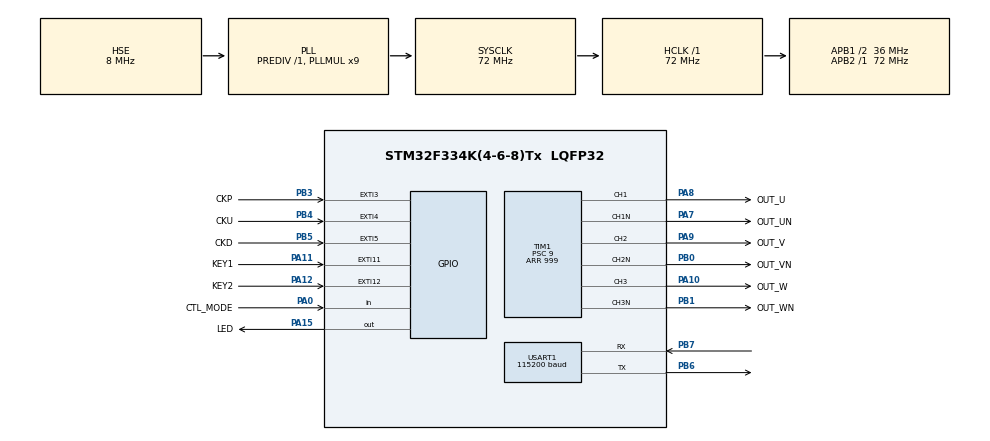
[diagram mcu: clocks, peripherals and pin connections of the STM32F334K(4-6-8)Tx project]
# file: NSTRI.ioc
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Dma.Request0=USART1_RX
Dma.Request1=USART1_TX
Dma.USART1_RX.0.Direction=DMA_PERIPH_TO_MEMORY
Dma.USART1_RX.0.Instance=DMA1_Channel5
Dma.USART1_RX.0.MemDataAlignment=DMA_MDATAALIGN_BYTE
Dma.USART1_RX.0.MemInc=DMA_MINC_ENABLE
Dma.USART1_RX.0.Mode=DMA_NORMAL
Dma.USART1_RX.0.PeriphDataAlignment=DMA_PDATAALIGN_BYTE
Dma.USART1_RX.0.PeriphInc=DMA_PINC_DISABLE
Dma.USART1_RX.0.Priority=DMA_PRIORITY_MEDIUM
Dma.USART1_TX.1.Direction=DMA_MEMORY_TO_PERIPH
Dma.USART1_TX.1.Instance=DMA1_Channel4
Dma.USART1_TX.1.MemDataAlignment=DMA_MDATAALIGN_BYTE
Dma.USART1_TX.1.MemInc=DMA_MINC_ENABLE
Dma.USART1_TX.1.Mode=DMA_NORMAL
Dma.USART1_TX.1.PeriphDataAlignment=DMA_PDATAALIGN_BYTE
Dma.USART1_TX.1.PeriphInc=DMA_PINC_DISABLE
Dma.USART1_TX.1.Priority=DMA_PRIORITY_MEDIUM
IWDG.Prescaler=IWDG_PRESCALER_8
IWDG.Window=4095
Mcu.Family=STM32F3
Mcu.Name=STM32F334K(4-6-8)Tx
Mcu.Package=LQFP32
NVIC.DMA1_Channel4_IRQn=true\:2\:0\:true\:false\:true\:false\:true
NVIC.DMA1_Channel5_IRQn=true\:2\:0\:true\:false\:true\:false\:true
NVIC.EXTI15_10_IRQn=true\:3\:0\:true\:false\:true\:true\:true
NVIC.EXTI3_IRQn=true\:3\:0\:true\:false\:true\:true\:true
NVIC.EXTI4_IRQn=true\:3\:0\:true\:false\:true\:true\:true
NVIC.EXTI9_5_IRQn=true\:3\:0\:true\:false\:true\:true\:true
NVIC.PriorityGroup=NVIC_PRIORITYGROUP_4
NVIC.TIM1_UP_TIM16_IRQn=true\:1\:0\:true\:false\:true\:true\:true
NVIC.TIM2_IRQn=true\:2\:0\:true\:false\:true\:true\:true
NVIC.USART1_IRQn=true\:2\:0\:true\:false\:true\:true\:true
PA0.GPIO_Label=CTL_MODE
PA0.GPIO_PuPd=GPIO_PULLUP
PA0.Signal=GPIO_Input
PA1.GPIO_Label=ADC_V
PA1.Signal=ADC1_IN2
PA10.GPIO_Label=OUT_W
PA10.Signal=S_TIM1_CH3
PA11.GPIO_Label=KEY1
PA11.GPIO_ModeDefaultEXTI=GPIO_MODE_IT_FALLING
PA11.GPIO_PuPd=GPIO_PULLUP
PA11.Signal=GPXTI11
PA12.GPIO_Label=KEY2
PA12.GPIO_ModeDefaultEXTI=GPIO_MODE_IT_FALLING
PA12.GPIO_PuPd=GPIO_PULLUP
PA12.Signal=GPXTI12
PA13.Mode=Serial_Wire
PA13.Signal=SYS_JTMS-SWDIO
PA14.Mode=Serial_Wire
PA14.Signal=SYS_JTCK-SWCLK
PA15.GPIO_Label=LED
PA15.GPIO_Speed=GPIO_SPEED_FREQ_HIGH
PA15.Signal=GPIO_Output
PA2.GPIO_Label=ADC_W
PA2.Signal=ADC1_IN3
PA3.GPIO_Label=ADC_PWR
PA3.Signal=ADC1_IN4
PA7.GPIO_Label=OUT_UN
PA7.Mode=PWM Generation1 CH1 CH1N
PA7.Signal=TIM1_CH1N
PA8.GPIO_Label=OUT_U
PA8.Signal=S_TIM1_CH1
PA9.GPIO_Label=OUT_V
PA9.Signal=S_TIM1_CH2
PB0.GPIO_Label=OUT_VN
PB0.Mode=PWM Generation2 CH2 CH2N
PB0.Signal=TIM1_CH2N
PB1.GPIO_Label=OUT_WN
PB1.Mode=PWM Generation3 CH3 CH3N
PB1.Signal=TIM1_CH3N
PB3.GPIO_Label=CKP
PB3.GPIO_ModeDefaultEXTI=GPIO_MODE_IT_FALLING
PB3.GPIO_PuPd=GPIO_PULLUP
PB3.Signal=GPXTI3
PB4.GPIO_Label=CKU
PB4.GPIO_ModeDefaultEXTI=GPIO_MODE_IT_FALLING
PB4.GPIO_PuPd=GPIO_PULLUP
PB4.Signal=GPXTI4
PB5.GPIO_Label=CKD
PB5.GPIO_ModeDefaultEXTI=GPIO_MODE_IT_FALLING
PB5.GPIO_PuPd=GPIO_PULLUP
PB5.Signal=GPXTI5
PB6.Mode=Asynchronous
PB6.Signal=USART1_TX
PB7.Mode=Asynchronous
PB7.Signal=USART1_RX
PF0\ /\ OSC_IN.Mode=HSE-External-Oscillator
PF0\ /\ OSC_IN.Signal=RCC_OSC_IN
PF1\ /\ OSC_OUT.Mode=HSE-External-Oscillator
PF1\ /\ OSC_OUT.Signal=RCC_OSC_OUT
ProjectManager.HeapSize=0x200
ProjectManager.StackSize=0x400
ProjectManager.TargetToolchain=STM32CubeIDE
RCC.AHBFreq_Value=72000000
RCC.APB1CLKDivider=RCC_HCLK_DIV2
RCC.APB1Freq_Value=36000000
RCC.APB1TimFreq_Value=72000000
RCC.APB2Freq_Value=72000000
RCC.APB2TimFreq_Value=72000000
RCC.CortexFreq_Value=72000000
RCC.EnbaleCSS=true
RCC.HCLKFreq_Value=72000000
RCC.HRTIMSelection=RCC_HRTIM1CLK_PLLCLK
RCC.HSE_VALUE=8000000
RCC.HSI_VALUE=8000000
RCC.PLLMUL=RCC_PLL_MUL9
RCC.PLLSourceVirtual=RCC_PLLSOURCE_HSE
RCC.SYSCLKFreq_VALUE=72000000
RCC.SYSCLKSourceVirtual=RCC_SYSCLKSOURCE_PLLCLK
RCC.TIM1Selection=RCC_TIM1CLK_PLLCLK
SH.S_TIM1_CH1.0=TIM1_CH1,PWM Generation1 CH1 CH1N
SH.S_TIM1_CH2.0=TIM1_CH2,PWM Generation2 CH2 CH2N
SH.S_TIM1_CH3.0=TIM1_CH3,PWM Generation3 CH3 CH3N
TIM1.AutoReloadPreload=TIM_AUTORELOAD_PRELOAD_ENABLE
TIM1.Channel-PWM\ Generation1\ CH1\ CH1N=TIM_CHANNEL_1
TIM1.Channel-PWM\ Generation2\ CH2\ CH2N=TIM_CHANNEL_2
TIM1.Channel-PWM\ Generation3\ CH3\ CH3N=TIM_CHANNEL_3
TIM1.OCFastMode_PWM-PWM\ Generation1\ CH1\ CH1N=TIM_OCFAST_ENABLE
TIM1.OCFastMode_PWM-PWM\ Generation2\ CH2\ CH2N=TIM_OCFAST_ENABLE
TIM1.OCFastMode_PWM-PWM\ Generation3\ CH3\ CH3N=TIM_OCFAST_ENABLE
TIM1.OCNPolarity_1=TIM_OCNPOLARITY_HIGH
TIM1.OCNPolarity_2=TIM_OCNPOLARITY_HIGH
TIM1.OCNPolarity_3=TIM_OCNPOLARITY_HIGH
TIM1.Period=999
TIM1.Prescaler=9
TIM1.Pulse-PWM\ Generation1\ CH1\ CH1N=499
TIM1.Pulse-PWM\ Generation2\ CH2\ CH2N=499
TIM1.Pulse-PWM\ Generation3\ CH3\ CH3N=499
TIM2.AutoReloadPreload=TIM_AUTORELOAD_PRELOAD_ENABLE
TIM2.Period=999
TIM2.Prescaler=71
USART1.BaudRate=115200
USART1.VirtualMode-Asynchronous=VM_ASYNC
VP_IWDG_VS_IWDG.Mode=IWDG_Activate
VP_TIM1_VS_ClockSourceINT.Mode=Internal
VP_TIM2_VS_ClockSourceINT.Mode=Internal
board=custom

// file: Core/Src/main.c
/* USER CODE BEGIN Header */
/**
  ******************************************************************************
  * @file           : main.c
  * @brief          : Main program body
  ******************************************************************************
  * @attention
  *
  * <h2><center>&copy; Copyright (c) 2020 STMicroelectronics.
  * All rights reserved.</center></h2>
  *
  * This software component is licensed by ST under BSD 3-Clause license,
  * the "License"; You may not use this file except in compliance with the
  * License. You may obtain a copy of the License at:
  *                        opensource.org/licenses/BSD-3-Clause
  *
  ******************************************************************************
  */
/* USER CODE END Header */
#include "main.h"

/* USER CODE BEGIN Includes */
#include <stdio.h>
#include <string.h>
/* USER CODE END Includes */

/* USER CODE BEGIN PD */
#define MIN_VEL 2
/* USER CODE END PD */

/* USER CODE BEGIN PM */
#define SET_FREQ(freq) (TIM1->ARR = (int) (100000.0F / (freq)) - 1)
/* USER CODE END PM */

IWDG_HandleTypeDef hiwdg;

TIM_HandleTypeDef htim1;
TIM_HandleTypeDef htim2;

UART_HandleTypeDef huart1;
DMA_HandleTypeDef hdma_usart1_rx;
DMA_HandleTypeDef hdma_usart1_tx;

void SystemClock_Config(void);
static void MX_GPIO_Init(void);
static void MX_DMA_Init(void);
static void MX_USART1_UART_Init(void);
static void MX_TIM1_Init(void);
static void MX_TIM2_Init(void);
static void MX_IWDG_Init(void);

/* USER CODE BEGIN 0 */
int __io_putchar(int ch) {
	while (HAL_UART_Transmit_DMA(&huart1, (uint8_t *) &ch, 1) != HAL_OK)
		HAL_IWDG_Refresh(&hiwdg);
	return ch;
}

#define VAL_LEN 144  // PSC = 9
static uint8_t VALS[] = {
	// n = 15
	0,1,0,1,1,1,0,1,1,1,1,0,1,1,1,1,1,0,1,1,1,1,1,1,0,1,1,1,1,1,1,0,1,1,1,1,
	1,1,1,0,1,1,1,1,1,1,0,1,1,1,1,1,1,0,1,1,1,1,1,0,1,1,1,1,0,1,1,1,0,1,0,0,
	0,0,0,0,0,0,0,0,0,0,0,0,0,0,0,0,0,0,0,0,0,0,0,0,0,0,0,0,0,0,0,0,0,0,0,0,
	0,0,0,0,0,0,0,0,0,0,0,0,0,0,0,0,0,0,0,0,0,0,0,0,0,0,0,0,0,0,0,0,0,0,0,0,

	// n = 12
	0,1,1,1,0,1,1,1,1,1,0,1,1,1,1,1,1,0,1,1,1,1,1,1,1,1,0,1,1,1,1,1,1,1,1,0,
	1,1,1,1,1,1,1,1,0,1,1,1,1,1,1,1,1,0,1,1,1,1,1,1,0,1,1,1,1,1,0,1,1,1,0,0,
	0,0,0,0,0,0,0,0,0,0,0,0,0,0,0,0,0,0,0,0,0,0,0,0,0,0,0,0,0,0,0,0,0,0,0,0,
	0,0,0,0,0,0,0,0,0,0,0,0,0,0,0,0,0,0,0,0,0,0,0,0,0,0,0,0,0,0,0,0,0,0,0,0,

	// n = 9
	1,0,1,1,1,1,1,0,1,1,1,1,1,1,1,1,1,0,1,1,1,1,1,1,1,1,1,1,1,0,1,1,1,1,1,1,
	1,1,1,1,1,1,0,1,1,1,1,1,1,1,1,1,1,1,0,1,1,1,1,1,1,1,1,1,0,1,1,1,1,1,0,1,
	0,0,0,0,0,0,0,0,0,0,0,0,0,0,0,0,0,0,0,0,0,0,0,0,0,0,0,0,0,0,0,0,0,0,0,0,
	0,0,0,0,0,0,0,0,0,0,0,0,0,0,0,0,0,0,0,0,0,0,0,0,0,0,0,0,0,0,0,0,0,0,0,0,

	// n = 6
	1,1,1,1,0,1,1,1,1,1,1,1,1,1,1,1,1,0,1,1,1,1,1,1,1,1,1,1,1,1,1,1,1,1,1,0,
	1,1,1,1,1,1,1,1,1,1,1,1,1,1,1,1,1,0,1,1,1,1,1,1,1,1,1,1,1,1,0,1,1,1,1,0,
	0,0,0,0,0,0,0,0,0,0,0,0,0,0,0,0,0,0,0,0,0,0,0,0,0,0,0,0,0,0,0,0,0,0,0,0,
	0,0,0,0,0,0,0,0,0,0,0,0,0,0,0,0,0,0,0,0,0,0,0,0,0,0,0,0,0,0,0,0,0,0,0,0,

	// n = 3
	1,1,1,1,1,1,1,1,1,1,1,1,1,1,1,1,1,0,1,1,1,1,1,1,1,1,1,1,1,1,1,1,1,1,1,1,
	1,1,1,1,1,1,1,1,1,1,1,1,1,1,1,1,1,0,1,1,1,1,1,1,1,1,1,1,1,1,1,1,1,1,1,0,
	0,0,0,0,0,0,0,0,0,0,0,0,0,0,0,0,0,0,0,0,0,0,0,0,0,0,0,0,0,0,0,0,0,0,0,0,
	0,0,0,0,0,0,0,0,0,0,0,0,0,0,0,0,0,0,0,0,0,0,0,0,0,0,0,0,0,0,0,0,0,0,0,0,
};
uint8_t STEP1 = 0, STEP2 = VAL_LEN / 3, STEP3 = VAL_LEN / 3 * 2;
uint16_t offset = 0;
float DUTY = 0;
uint8_t dir = 1;

void __tim1_interrupt_callback() {
	if (dir == 1) {
		TIM1->CCR1 = VALS[offset + STEP1] ? TIM1->ARR * DUTY : 0;
		TIM1->CCR2 = VALS[offset + STEP2] ? TIM1->ARR * DUTY : 0;
		TIM1->CCR3 = VALS[offset + STEP3] ? TIM1->ARR * DUTY : 0;
	} else {
		TIM1->CCR1 = VALS[offset + STEP3] ? TIM1->ARR * DUTY : 0;
		TIM1->CCR2 = VALS[offset + STEP2] ? TIM1->ARR * DUTY : 0;
		TIM1->CCR3 = VALS[offset + STEP1] ? TIM1->ARR * DUTY : 0;
	}

	STEP1 = STEP1 < VAL_LEN ? STEP1 + 1 : 0;
	STEP2 = STEP2 < VAL_LEN ? STEP2 + 1 : 0;
	STEP3 = STEP3 < VAL_LEN ? STEP3 + 1 : 0;
}

float VEL1 = 2.0F, VEL2 = 6.0F;
int DUTY1 = 1, DUTY2 = 2;
int TIME1 = 2000, TIME2 = 2000;

float TARV = 10.0F;
int TDUTY = 0; float DUTYF = 0.1F;

float acc = 0.01F, vel = 0;
int time = 0;
uint8_t state = 0;
volatile uint32_t counter = 0;

void __tim2_interrupt_callback() {
	if (time > 0) {
		time -= 1;
		if (time - TIME2 > 0) {
			DUTY = DUTY1 / 100.0F;
			SET_FREQ(vel * 3);
			if (vel < VEL1)
				vel = (vel < VEL1) ? (vel + acc) : VEL1;
			else if (vel == VEL1)
				acc = 0.01F;
			acc = (acc < 0.2F) ? (acc + 0.001F) : 0.2F;
		} else {
			DUTY = DUTY2 / 100.0F;
			SET_FREQ(vel * 3);
			if (vel < VEL2)
				vel = (vel < VEL2) ? (vel + acc) : VEL2;
			else if (vel == VEL2)
				acc = 0.01F;
			acc = (acc < 0.1F) ? (acc + 0.0002F) : 0.1F;
		}
	} else {
		SET_FREQ(vel * 3);
		if (vel < TARV)
			vel = (vel < TARV) ? (vel + acc) : TARV;
		else if (vel == TARV)
			acc = 0.01F;
		else if (vel > TARV)
			vel = (vel > TARV) ? (vel - acc) : TARV;
		acc = (acc < 0.05F) ? (acc + 0.00005F) : 0.05F;

		float tarDuty = TDUTY / 100.0F;
		if (DUTY < tarDuty)
			DUTY = (DUTY < tarDuty) ? (DUTY + 0.01F * DUTYF * acc) : tarDuty;
		else if (DUTY > tarDuty)
			DUTY = (DUTY > tarDuty) ? (DUTY - 0.01F * DUTYF * acc) : tarDuty;
	}

	if (vel < 10) offset = 0;
	else if (vel < 20) offset = VAL_LEN;
	else if (vel < 50) offset = VAL_LEN * 2;
	else if (vel < 100) offset = VAL_LEN * 3;
	else offset = VAL_LEN * 4;
}

void HAL_TIM_PeriodElapsedCallback(TIM_HandleTypeDef *htim) {
	if (htim == &htim1) {
		__tim1_interrupt_callback();
	} else if (htim == &htim2) {
		__tim2_interrupt_callback();
	}
}

void __update_disp() {
	HAL_IWDG_Refresh(&hiwdg);

	printf("x0.val=%d\xff\xff\xff", (int) (vel * 100.0f));
    printf("x1.val=%d\xff\xff\xff", (int) (DUTY * 100.0f));
}

void __start_motor() {
	time = TIME1 + TIME2;
	vel = MIN_VEL;
	DUTY = 0;
	acc = 0.01F;

	HAL_TIM_PWM_Start(&htim1, TIM_CHANNEL_1);
	HAL_TIM_PWM_Start(&htim1, TIM_CHANNEL_2);
	HAL_TIM_PWM_Start(&htim1, TIM_CHANNEL_3);
	HAL_TIMEx_PWMN_Start(&htim1, TIM_CHANNEL_1);
	HAL_TIMEx_PWMN_Start(&htim1, TIM_CHANNEL_2);
	HAL_TIMEx_PWMN_Start(&htim1, TIM_CHANNEL_3);
	HAL_TIM_Base_Start_IT(&htim1);
	HAL_TIM_Base_Start_IT(&htim2);
}

void __stop_motor() {
	float tmpV = TARV; int tmpD = TDUTY;

	TARV = VEL2 + VEL1 * 2; TDUTY = DUTY2 + DUTY1 * 2;
	acc = 0.01F;
	while (vel > TARV + 0.1F || DUTY > (float) (TDUTY / 100.0F + 0.001F))
		__update_disp();

	TARV = VEL2; TDUTY = DUTY2;
	acc = 0.01F;
	long start = HAL_GetTick();
	while (vel > TARV + 0.1F || DUTY > (float) (TDUTY / 100.0F + 0.001F))
		__update_disp();
	while (HAL_GetTick() - start < TIME2) __update_disp();

	TARV = VEL1; TDUTY = DUTY1;
	acc = 0.01F;
	start = HAL_GetTick();
	while (vel > TARV + 0.1F || DUTY > (float) (TDUTY / 100.0F + 0.001F))
		__update_disp();
	while (HAL_GetTick() - start < TIME1) __update_disp();

	TARV = 0; TDUTY = 0;
	acc = 0.01F;
	while (vel > 0.1F || DUTY > 0.001F) __update_disp();

	HAL_TIM_PWM_Stop(&htim1, TIM_CHANNEL_1);
	HAL_TIM_PWM_Stop(&htim1, TIM_CHANNEL_2);
	HAL_TIM_PWM_Stop(&htim1, TIM_CHANNEL_3);
	HAL_TIMEx_PWMN_Stop(&htim1, TIM_CHANNEL_1);
	HAL_TIMEx_PWMN_Stop(&htim1, TIM_CHANNEL_2);
	HAL_TIMEx_PWMN_Stop(&htim1, TIM_CHANNEL_3);
	HAL_TIM_Base_Stop_IT(&htim1);
	HAL_TIM_Base_Stop_IT(&htim2);

	TARV = tmpV; TDUTY = tmpD;
}

void __halt_motor() {
	HAL_TIM_PWM_Stop(&htim1, TIM_CHANNEL_1);
	HAL_TIM_PWM_Stop(&htim1, TIM_CHANNEL_2);
	HAL_TIM_PWM_Stop(&htim1, TIM_CHANNEL_3);
	HAL_TIMEx_PWMN_Stop(&htim1, TIM_CHANNEL_1);
	HAL_TIMEx_PWMN_Stop(&htim1, TIM_CHANNEL_2);
	HAL_TIMEx_PWMN_Stop(&htim1, TIM_CHANNEL_3);
	HAL_TIM_Base_Stop_IT(&htim1);
	HAL_TIM_Base_Stop_IT(&htim2);
}

void HAL_GPIO_EXTI_Callback(uint16_t GPIO_Pin) {
	switch (GPIO_Pin) {
	case GPIO_PIN_11:	// KEY1
		TDUTY += TDUTY < 5 ? 1 : 5;
		TDUTY = TDUTY > 100 ? 100 : TDUTY;
		//printf("[CONF]  Duty: %d\r\n", TDUTY);
		HAL_GPIO_TogglePin(LED_GPIO_Port, LED_Pin);
		break;
	case GPIO_PIN_12:	// KEY2
		TDUTY -= TDUTY <= 5 ? 1 : 5;
		TDUTY = TDUTY < 0 ? 0 : TDUTY;
		//printf("[CONF]  Duty: %d\r\n", TDUTY);
		HAL_GPIO_TogglePin(LED_GPIO_Port, LED_Pin);
		break;
	case GPIO_PIN_3:	// CKP
		if (state == 0) {
			__start_motor();
			state = 1;
			//printf("[INFO]  Motor started.\r\n");
		} else {
			//printf("[INFO]  Stopping motor...\r\n");
			__stop_motor();
			state = 0;
			//printf("[INFO]  Motor stopped.\r\n");
		}
		HAL_GPIO_TogglePin(LED_GPIO_Port, LED_Pin);
		break;
	case GPIO_PIN_4:	// CKU
		TARV += TARV < 50 ? (TARV < 10 ? 2 : 10) : 50;
		TARV = TARV > 3000 ? 3000 : TARV;
//		printf("[CONF]  Target: %d\r\n", (int) TARV);
//		if (TARV > 250)
//			printf("[WARN]  Target larger than 250 may cause IWDG reset !\r\n");
		HAL_GPIO_TogglePin(LED_GPIO_Port, LED_Pin);
		break;
	case GPIO_PIN_5:	// CKD
		TARV -= TARV <= 50 ? (TARV <= 10 ? 2 : 10) : 50;
		TARV = TARV < MIN_VEL ? MIN_VEL : TARV;
		//printf("[CONF]  Target: %d\r\n", (int) TARV);
		HAL_GPIO_TogglePin(LED_GPIO_Port, LED_Pin);
		break;
	default:
		break;
	}
}

/* USER CODE END 0 */

int main(void)
{

  /* MCU Configuration--------------------------------------------------------*/

  /* Reset of all peripherals, Initializes the Flash interface and the Systick. */
  HAL_Init();

  /* Configure the system clock */
  SystemClock_Config();

  /* Initialize all configured peripherals */
  MX_GPIO_Init();
  MX_DMA_Init();
  MX_USART1_UART_Init();
  MX_TIM1_Init();
  MX_TIM2_Init();
  MX_IWDG_Init();
  /* USER CODE BEGIN 2 */
  TIM1->ARR = 999; // 100Hz
  DUTY = 0.0F;
  HAL_IWDG_Refresh(&hiwdg);

  //printf("NSTRI - BLDC Motor Controller | by drzzm32\r\n");

  if (HAL_GPIO_ReadPin(CTL_MODE_GPIO_Port, CTL_MODE_Pin) == GPIO_PIN_RESET) {
	  DUTYF = 0.2F;
  }
  /* USER CODE END 2 */

  /* Infinite loop */
  /* USER CODE BEGIN WHILE */
  while (1) {
	  char ch = 0;
	  while (HAL_UART_Receive_DMA(&huart1, (uint8_t *)&ch, 1) != HAL_OK) {
		  HAL_IWDG_Refresh(&hiwdg);
		  printf("x2.val=%d\xff\xff\xff", (int) (TARV * 100));
		  printf("x3.val=%d\xff\xff\xff", TDUTY);
	  }

	  uint16_t pin = 0xFFFF;
	  switch (ch) {
	  case 0xAA:
		  __start_motor();
		  break;
	  case 0xA5:
		  __stop_motor();
		  break;
	  case ' ':
		  pin = GPIO_PIN_3;
		  break;
	  case 'W':
	  case 'w':
		  pin = GPIO_PIN_4;
		  break;
	  case 'S':
	  case 's':
		  pin = GPIO_PIN_5;
		  break;
	  case 'A':
	  case 'a':
		  pin = GPIO_PIN_12;
		  break;
	  case 'D':
	  case 'd':
		  pin = GPIO_PIN_11;
		  break;
	  case 'Q':
	  case 'q':
//		  printf("[INFO]  Target: (%d, %d%%), current: (%d, %d.%d%%)\r\n",
//			  (int) TARV, TDUTY,
//			  (int) vel, (int) (DUTY * 100), (int) ((DUTY * 100 - (int) (DUTY * 100)) * 1000)
//		  );
		  printf("x0.val=%d\xff\xff\xff", (int) (vel * 100.0f));
		  printf("x1.val=%d\xff\xff\xff", (int) (DUTY * 100.0f));
		  break;
	  case 'R':
	  case 'r':
		  __halt_motor();
		  dir = 1 - dir;
		  state = 0;
//		  printf("[INFO]  Direction: %s, motor halted.\r\n", dir == 1 ? "forward" : "reverse");
		  printf("x0.val=%d\xff\xff\xff", 0);
		  printf("x1.val=%d\xff\xff\xff", 0);
		  printf("h0.val=%d\xff\xff\xff", dir);
		  break;
	  default:
		  break;
	  }

	  HAL_GPIO_EXTI_Callback(pin);
	  HAL_Delay(1);
    /* USER CODE END WHILE */

  }
}

void SystemClock_Config(void)
{
  RCC_OscInitTypeDef RCC_OscInitStruct = {0};
  RCC_ClkInitTypeDef RCC_ClkInitStruct = {0};
  RCC_PeriphCLKInitTypeDef PeriphClkInit = {0};

  /** Initializes the RCC Oscillators according to the specified parameters
  * in the RCC_OscInitTypeDef structure.
  */
  RCC_OscInitStruct.OscillatorType = RCC_OSCILLATORTYPE_LSI|RCC_OSCILLATORTYPE_HSE;
  RCC_OscInitStruct.HSEState = RCC_HSE_ON;
  RCC_OscInitStruct.HSEPredivValue = RCC_HSE_PREDIV_DIV1;
  RCC_OscInitStruct.HSIState = RCC_HSI_ON;
  RCC_OscInitStruct.LSIState = RCC_LSI_ON;
  RCC_OscInitStruct.PLL.PLLState = RCC_PLL_ON;
  RCC_OscInitStruct.PLL.PLLSource = RCC_PLLSOURCE_HSE;
  RCC_OscInitStruct.PLL.PLLMUL = RCC_PLL_MUL9;
  if (HAL_RCC_OscConfig(&RCC_OscInitStruct) != HAL_OK)
  {
    Error_Handler();
  }
  /** Initializes the CPU, AHB and APB buses clocks
  */
  RCC_ClkInitStruct.ClockType = RCC_CLOCKTYPE_HCLK|RCC_CLOCKTYPE_SYSCLK
                              |RCC_CLOCKTYPE_PCLK1|RCC_CLOCKTYPE_PCLK2;
  RCC_ClkInitStruct.SYSCLKSource = RCC_SYSCLKSOURCE_PLLCLK;
  RCC_ClkInitStruct.AHBCLKDivider = RCC_SYSCLK_DIV1;
  RCC_ClkInitStruct.APB1CLKDivider = RCC_HCLK_DIV2;
  RCC_ClkInitStruct.APB2CLKDivider = RCC_HCLK_DIV1;

  if (HAL_RCC_ClockConfig(&RCC_ClkInitStruct, FLASH_LATENCY_2) != HAL_OK)
  {
    Error_Handler();
  }
  PeriphClkInit.PeriphClockSelection = RCC_PERIPHCLK_USART1|RCC_PERIPHCLK_TIM1;
  PeriphClkInit.Usart1ClockSelection = RCC_USART1CLKSOURCE_PCLK1;
  PeriphClkInit.Tim1ClockSelection = RCC_TIM1CLK_PLLCLK;
  if (HAL_RCCEx_PeriphCLKConfig(&PeriphClkInit) != HAL_OK)
  {
    Error_Handler();
  }
  /** Enables the Clock Security System
  */
  HAL_RCC_EnableCSS();
}

static void MX_IWDG_Init(void)
{

  hiwdg.Instance = IWDG;
  hiwdg.Init.Prescaler = IWDG_PRESCALER_8;
  hiwdg.Init.Window = 4095;
  hiwdg.Init.Reload = 4095;
  if (HAL_IWDG_Init(&hiwdg) != HAL_OK)
  {
    Error_Handler();
  }

}

static void MX_TIM1_Init(void)
{

  TIM_ClockConfigTypeDef sClockSourceConfig = {0};
  TIM_MasterConfigTypeDef sMasterConfig = {0};
  TIM_OC_InitTypeDef sConfigOC = {0};
  TIM_BreakDeadTimeConfigTypeDef sBreakDeadTimeConfig = {0};

  htim1.Instance = TIM1;
  htim1.Init.Prescaler = 9;
  htim1.Init.CounterMode = TIM_COUNTERMODE_UP;
  htim1.Init.Period = 999;
  htim1.Init.ClockDivision = TIM_CLOCKDIVISION_DIV1;
  htim1.Init.RepetitionCounter = 0;
  htim1.Init.AutoReloadPreload = TIM_AUTORELOAD_PRELOAD_ENABLE;
  if (HAL_TIM_Base_Init(&htim1) != HAL_OK)
  {
    Error_Handler();
  }
  sClockSourceConfig.ClockSource = TIM_CLOCKSOURCE_INTERNAL;
  if (HAL_TIM_ConfigClockSource(&htim1, &sClockSourceConfig) != HAL_OK)
  {
    Error_Handler();
  }
  if (HAL_TIM_PWM_Init(&htim1) != HAL_OK)
  {
    Error_Handler();
  }
  sMasterConfig.MasterOutputTrigger = TIM_TRGO_RESET;
  sMasterConfig.MasterOutputTrigger2 = TIM_TRGO2_RESET;
  sMasterConfig.MasterSlaveMode = TIM_MASTERSLAVEMODE_DISABLE;
  if (HAL_TIMEx_MasterConfigSynchronization(&htim1, &sMasterConfig) != HAL_OK)
  {
    Error_Handler();
  }
  sConfigOC.OCMode = TIM_OCMODE_PWM1;
  sConfigOC.Pulse = 499;
  sConfigOC.OCPolarity = TIM_OCPOLARITY_HIGH;
  sConfigOC.OCNPolarity = TIM_OCNPOLARITY_HIGH;
  sConfigOC.OCFastMode = TIM_OCFAST_ENABLE;
  sConfigOC.OCIdleState = TIM_OCIDLESTATE_RESET;
  sConfigOC.OCNIdleState = TIM_OCNIDLESTATE_RESET;
  if (HAL_TIM_PWM_ConfigChannel(&htim1, &sConfigOC, TIM_CHANNEL_1) != HAL_OK)
  {
    Error_Handler();
  }
  if (HAL_TIM_PWM_ConfigChannel(&htim1, &sConfigOC, TIM_CHANNEL_2) != HAL_OK)
  {
    Error_Handler();
  }
  if (HAL_TIM_PWM_ConfigChannel(&htim1, &sConfigOC, TIM_CHANNEL_3) != HAL_OK)
  {
    Error_Handler();
  }
  sBreakDeadTimeConfig.OffStateRunMode = TIM_OSSR_DISABLE;
  sBreakDeadTimeConfig.OffStateIDLEMode = TIM_OSSI_DISABLE;
  sBreakDeadTimeConfig.LockLevel = TIM_LOCKLEVEL_OFF;
  sBreakDeadTimeConfig.DeadTime = 0;
  sBreakDeadTimeConfig.BreakState = TIM_BREAK_DISABLE;
  sBreakDeadTimeConfig.BreakPolarity = TIM_BREAKPOLARITY_HIGH;
  sBreakDeadTimeConfig.BreakFilter = 0;
  sBreakDeadTimeConfig.Break2State = TIM_BREAK2_DISABLE;
  sBreakDeadTimeConfig.Break2Polarity = TIM_BREAK2POLARITY_HIGH;
  sBreakDeadTimeConfig.Break2Filter = 0;
  sBreakDeadTimeConfig.AutomaticOutput = TIM_AUTOMATICOUTPUT_DISABLE;
  if (HAL_TIMEx_ConfigBreakDeadTime(&htim1, &sBreakDeadTimeConfig) != HAL_OK)
  {
    Error_Handler();
  }
  HAL_TIM_MspPostInit(&htim1);

}

static void MX_TIM2_Init(void)
{

  TIM_ClockConfigTypeDef sClockSourceConfig = {0};
  TIM_MasterConfigTypeDef sMasterConfig = {0};

  htim2.Instance = TIM2;
  htim2.Init.Prescaler = 71;
  htim2.Init.CounterMode = TIM_COUNTERMODE_UP;
  htim2.Init.Period = 999;
  htim2.Init.ClockDivision = TIM_CLOCKDIVISION_DIV1;
  htim2.Init.AutoReloadPreload = TIM_AUTORELOAD_PRELOAD_ENABLE;
  if (HAL_TIM_Base_Init(&htim2) != HAL_OK)
  {
    Error_Handler();
  }
  sClockSourceConfig.ClockSource = TIM_CLOCKSOURCE_INTERNAL;
  if (HAL_TIM_ConfigClockSource(&htim2, &sClockSourceConfig) != HAL_OK)
  {
    Error_Handler();
  }
  sMasterConfig.MasterOutputTrigger = TIM_TRGO_RESET;
  sMasterConfig.MasterSlaveMode = TIM_MASTERSLAVEMODE_DISABLE;
  if (HAL_TIMEx_MasterConfigSynchronization(&htim2, &sMasterConfig) != HAL_OK)
  {
    Error_Handler();
  }

}

static void MX_USART1_UART_Init(void)
{

  huart1.Instance = USART1;
  huart1.Init.BaudRate = 115200;
  huart1.Init.WordLength = UART_WORDLENGTH_8B;
  huart1.Init.StopBits = UART_STOPBITS_1;
  huart1.Init.Parity = UART_PARITY_NONE;
  huart1.Init.Mode = UART_MODE_TX_RX;
  huart1.Init.HwFlowCtl = UART_HWCONTROL_NONE;
  huart1.Init.OverSampling = UART_OVERSAMPLING_16;
  huart1.Init.OneBitSampling = UART_ONE_BIT_SAMPLE_DISABLE;
  huart1.AdvancedInit.AdvFeatureInit = UART_ADVFEATURE_NO_INIT;
  if (HAL_UART_Init(&huart1) != HAL_OK)
  {
    Error_Handler();
  }

}

static void MX_DMA_Init(void)
{

  /* DMA controller clock enable */
  __HAL_RCC_DMA1_CLK_ENABLE();

  /* DMA interrupt init */
  /* DMA1_Channel4_IRQn interrupt configuration */
  HAL_NVIC_SetPriority(DMA1_Channel4_IRQn, 2, 0);
  HAL_NVIC_EnableIRQ(DMA1_Channel4_IRQn);
  /* DMA1_Channel5_IRQn interrupt configuration */
  HAL_NVIC_SetPriority(DMA1_Channel5_IRQn, 2, 0);
  HAL_NVIC_EnableIRQ(DMA1_Channel5_IRQn);

}

static void MX_GPIO_Init(void)
{
  GPIO_InitTypeDef GPIO_InitStruct = {0};

  /* GPIO Ports Clock Enable */
  __HAL_RCC_GPIOF_CLK_ENABLE();
  __HAL_RCC_GPIOA_CLK_ENABLE();
  __HAL_RCC_GPIOB_CLK_ENABLE();

  /*Configure GPIO pin Output Level */
  HAL_GPIO_WritePin(LED_GPIO_Port, LED_Pin, GPIO_PIN_RESET);

  /*Configure GPIO pin : CTL_MODE_Pin */
  GPIO_InitStruct.Pin = CTL_MODE_Pin;
  GPIO_InitStruct.Mode = GPIO_MODE_INPUT;
  GPIO_InitStruct.Pull = GPIO_PULLUP;
  HAL_GPIO_Init(CTL_MODE_GPIO_Port, &GPIO_InitStruct);

  /*Configure GPIO pins : ADC_V_Pin ADC_W_Pin ADC_PWR_Pin */
  GPIO_InitStruct.Pin = ADC_V_Pin|ADC_W_Pin|ADC_PWR_Pin;
  GPIO_InitStruct.Mode = GPIO_MODE_ANALOG;
  GPIO_InitStruct.Pull = GPIO_NOPULL;
  HAL_GPIO_Init(GPIOA, &GPIO_InitStruct);

  /*Configure GPIO pins : KEY1_Pin KEY2_Pin */
  GPIO_InitStruct.Pin = KEY1_Pin|KEY2_Pin;
  GPIO_InitStruct.Mode = GPIO_MODE_IT_FALLING;
  GPIO_InitStruct.Pull = GPIO_PULLUP;
  HAL_GPIO_Init(GPIOA, &GPIO_InitStruct);

  /*Configure GPIO pin : LED_Pin */
  GPIO_InitStruct.Pin = LED_Pin;
  GPIO_InitStruct.Mode = GPIO_MODE_OUTPUT_PP;
  GPIO_InitStruct.Pull = GPIO_NOPULL;
  GPIO_InitStruct.Speed = GPIO_SPEED_FREQ_HIGH;
  HAL_GPIO_Init(LED_GPIO_Port, &GPIO_InitStruct);

  /*Configure GPIO pins : CKP_Pin CKU_Pin CKD_Pin */
  GPIO_InitStruct.Pin = CKP_Pin|CKU_Pin|CKD_Pin;
  GPIO_InitStruct.Mode = GPIO_MODE_IT_FALLING;
  GPIO_InitStruct.Pull = GPIO_PULLUP;
  HAL_GPIO_Init(GPIOB, &GPIO_InitStruct);

  /* EXTI interrupt init*/
  HAL_NVIC_SetPriority(EXTI3_IRQn, 3, 0);
  HAL_NVIC_EnableIRQ(EXTI3_IRQn);

  HAL_NVIC_SetPriority(EXTI4_IRQn, 3, 0);
  HAL_NVIC_EnableIRQ(EXTI4_IRQn);

  HAL_NVIC_SetPriority(EXTI9_5_IRQn, 3, 0);
  HAL_NVIC_EnableIRQ(EXTI9_5_IRQn);

  HAL_NVIC_SetPriority(EXTI15_10_IRQn, 3, 0);
  HAL_NVIC_EnableIRQ(EXTI15_10_IRQn);

}

void Error_Handler(void)
{
  __disable_irq();
  while (1)
  {
  }
}

/************************ (C) COPYRIGHT STMicroelectronics *****END OF FILE****/
